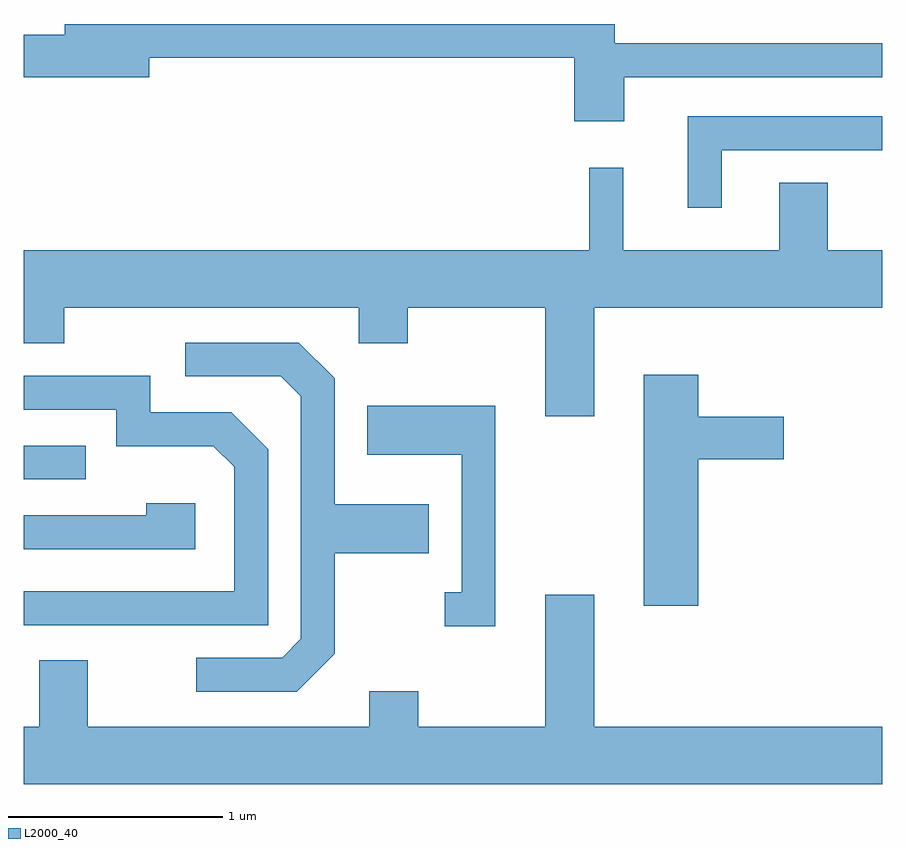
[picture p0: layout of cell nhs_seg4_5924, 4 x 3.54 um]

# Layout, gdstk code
import gdstk
lib = gdstk.Library(unit=1e-6, precision=1e-09)
def R(c, l, rs):  # rectangles x0, y0, x1, y1
    for r in rs: c.add(gdstk.rectangle(r[:2], r[2:], *l))
def P(c, l, *ps):  # polygons
    for p in ps: c.add(gdstk.Polygon(p, *l))
L2000_40 = (2000, 40)

nhs_seg4_5924 = lib.new_cell('nhs_seg4_5924')
R(nhs_seg4_5924, L2000_40, [(359.611,1271.736,359.898,1271.894)])
P(nhs_seg4_5924, L2000_40, [(362.409,1273.611),(363.611,1273.611),(363.611,1273.769),(362.364,1273.769),(362.364,1273.859),(359.801,1273.859),(359.801,1273.809),(359.611,1273.809),(359.611,1273.611),(360.194,1273.611),(360.194,1273.701),(362.176,1273.701),(362.176,1273.406),(362.409,1273.406)],
  [(362.864,1273.271),(363.611,1273.271),(363.611,1273.429),(362.706,1273.429),(362.706,1273.003),(362.864,1273.003)],
  [(362.269,1272.536),(363.611,1272.536),(363.611,1272.804),(363.359,1272.804),(363.359,1273.119),(363.131,1273.119),(363.131,1272.804),(362.404,1272.804),(362.404,1273.188),(362.246,1273.188),(362.246,1272.804),(359.611,1272.804),(359.611,1272.371),(359.799,1272.371),(359.799,1272.536),(361.171,1272.536),(361.171,1272.371),(361.399,1272.371),(361.399,1272.536),(362.041,1272.536),(362.041,1272.031),(362.269,1272.031)],
  [(361.059,1270.924),(361.059,1271.391),(361.499,1271.391),(361.499,1271.619),(361.059,1271.619),(361.059,1272.207),(360.892,1272.374),(360.363,1272.374),(360.363,1272.216),(360.809,1272.216),(360.901,1272.124),(360.901,1270.992),(360.814,1270.904),(360.413,1270.904),(360.413,1270.746),(360.882,1270.746)],
  [(362.754,1271.831),(363.154,1271.831),(363.154,1272.029),(362.754,1272.029),(362.754,1272.224),(362.501,1272.224),(362.501,1271.146),(362.754,1271.146)],
  [(360.749,1271.877),(360.577,1272.049),(360.199,1272.049),(360.199,1272.219),(359.611,1272.219),(359.611,1272.061),(360.041,1272.061),(360.041,1271.891),(360.494,1271.891),(360.591,1271.794),(360.591,1271.214),(359.611,1271.214),(359.611,1271.056),(360.749,1271.056)],
  [(361.809,1272.079),(361.211,1272.079),(361.211,1271.851),(361.651,1271.851),(361.651,1271.209),(361.573,1271.209),(361.573,1271.051),(361.809,1271.051)],
  [(360.409,1271.624),(360.181,1271.624),(360.181,1271.569),(359.611,1271.569),(359.611,1271.411),(360.409,1271.411)],
  [(363.611,1270.584),(362.269,1270.584),(362.269,1271.199),(362.041,1271.199),(362.041,1270.584),(361.449,1270.584),(361.449,1270.749),(361.221,1270.749),(361.221,1270.584),(359.909,1270.584),(359.909,1270.894),(359.681,1270.894),(359.681,1270.584),(359.611,1270.584),(359.611,1270.316),(363.611,1270.316)])

lib.write_gds('nhs_seg4_5924.gds')
